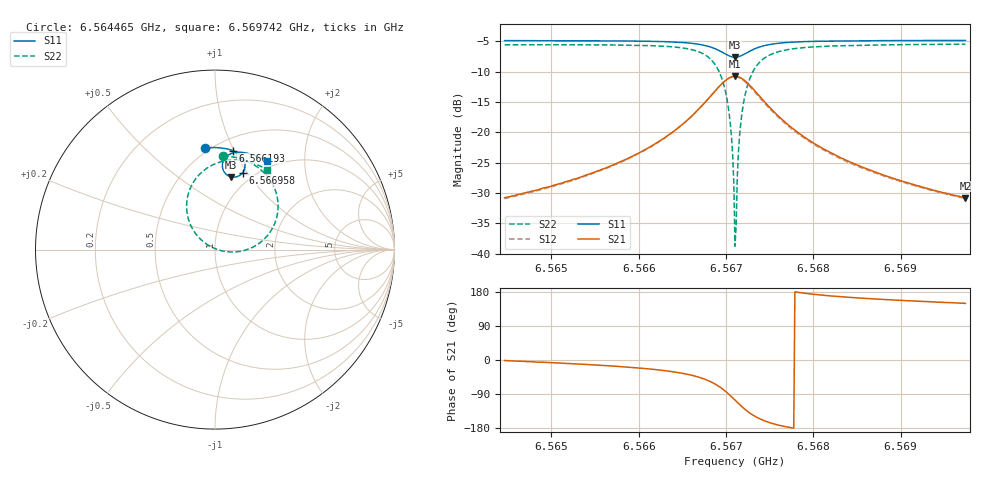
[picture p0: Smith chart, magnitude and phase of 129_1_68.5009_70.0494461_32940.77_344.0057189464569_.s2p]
#  HZ  S  RI  R  50.00
! Rohde & Schwarz Vector Network Analyzer
! Rohde-Schwarz,ZNB20-2Port,1311601062101988,3.16
! Created: UTC 3/20/2024, 5:09:26 PM
! freq[Hz]  re:S11  im:S11  re:S21  im:S21  re:S12  im:S12  re:S22  im:S22
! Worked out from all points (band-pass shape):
!   401 points, 6.564465 GHz to 6.569742 GHz, reference 50 ohm
!   highest |S21| = -10.78 dB at 6.567103 GHz (marker M1); lowest = -30.8 dB at 6.569742 GHz (marker M2)
!   |S21| within 3 dB of the highest: 6.566841 GHz to 6.567368 GHz (526.7 kHz wide, 0.00802 % of centre)
!   lowest |S11| = -7.6 dB at 6.567103 GHz (marker M3), VSWR 2.42, Z = 41.7 + j40.9 ohm
!   |S11| at or under -10 dB: nowhere
!   |S22| runs from -38.8 to -5.5 dB; largest |S21 - S12| = 0.014
!   S11 on the Smith chart (normalised r, x): 6.564465 GHz: 0.47, +0.79; 6.566193 GHz: 0.61, +0.99; 6.566958 GHz: 0.88, +0.95; 6.569742 GHz: 0.91, +1.32
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6.5644651e9  -0.0545 0.5665  0.0289 -0.000687  0.0283 -0.00126  0.0456 0.5237
6.5653489e9  0.0183 0.5675  0.0421 -0.0083  0.0416 -0.00901  0.1304 0.5092
6.5661932e9  0.0982 0.5519  0.0727 -0.0344  0.0717 -0.0352  0.2439 0.4543
6.5662328e9  0.1025 0.5501  0.0753 -0.0371  0.074 -0.038  0.251 0.4489
6.5667341e9  0.1613 0.4982  0.1108 -0.1263  0.1082 -0.1287  0.3496 0.2754
6.566866e9  0.1671 0.4618  0.1001 -0.19  0.0952 -0.1934  0.336 0.154
6.5669584e9  0.1545 0.4292  0.0611 -0.2456  0.0525 -0.2485  0.2651 0.0503
6.566998e9  0.142 0.4165  0.0311 -0.2663  0.0209 -0.2679  0.2098 0.0131
6.5670375e9  0.1248 0.4073  -0.00653 -0.2802  -0.0184 -0.2794  0.1405 -0.00974
6.5670639e9  0.1116 0.4042  -0.035 -0.2835  -0.0475 -0.2809  0.0892 -0.0134
6.5670903e9  0.0974 0.4041  -0.0645 -0.2812  -0.0768 -0.2764  0.0369 -0.00674
6.5671035e9  0.0905 0.4052  -0.079 -0.2782  -0.091 -0.272  0.0115 0.000952
6.5671167e9  0.0837 0.4071  -0.0929 -0.2733  -0.105 -0.2662  -0.0129 0.011
6.5671299e9  0.0772 0.4098  -0.1066 -0.2672  -0.1178 -0.2591  -0.036 0.0235
6.5671563e9  0.0653 0.4171  -0.1312 -0.2515  -0.1409 -0.2417  -0.0771 0.0545
6.5671958e9  0.0517 0.4317  -0.16 -0.2213  -0.1668 -0.2101  -0.1228 0.1111
6.5672354e9  0.0438 0.4484  -0.178 -0.1881  -0.182 -0.1763  -0.1488 0.1719
6.5673014e9  0.0415 0.4755  -0.1882 -0.1353  -0.1883 -0.1248  -0.1573 0.2649
6.567552e9  0.0799 0.53  -0.1442 -0.0281  -0.1411 -0.0238  -0.0562 0.4453
6.5679874e9  0.1429 0.5422  -0.0822 0.00876  -0.0804 0.0101  0.0822 0.4977
6.5688713e9  0.2264 0.5221  -0.0399 0.0152  -0.0391 0.0157  0.2128 0.4808
6.5697419e9  0.2912 0.491  -0.0247 0.0147  -0.0242 0.0147  0.2904 0.4456
